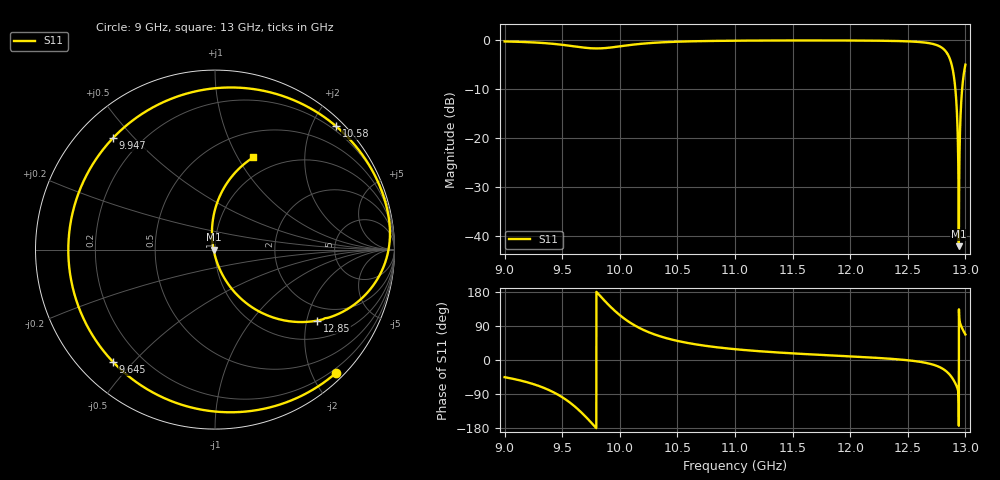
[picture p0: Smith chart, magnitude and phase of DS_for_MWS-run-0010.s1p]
! TOUCHSTONE file generated by CST DESIGN STUDIO
! Date and time: Tue Feb  4 18:01:03 2025
! Project name: C:\Work\MatlabApps\UnitCellOptimizationMatlab\CST\unitcell.cst
! Tree item: Tasks\Sweep1\SPara1\S-Parameters
! Header version: 2024
! Port assignment regex: !\s*Touchstone port\s*([0-9]+)\s*=\s*(CST MWS port|CST DES external port|CST DES block port)\s*(.+)\s* \(\"(.*)\"\)(\s*mode\s*([0-9]+))?.*
! Touchstone port assignment:
! Touchstone port 1 = CST DES external port 1 ("")
# GHz S MA R 50
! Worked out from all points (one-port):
!   4001 points, 9 GHz to 13 GHz, reference 50 ohm
!   lowest |S11| = -42.1 dB at 12.94 GHz (marker M1), VSWR 1.02, Z = 49.2 - j0.0864 ohm
!   |S11| at or under -10 dB: 12.91282 GHz to 12.97183 GHz (59.01 MHz wide, 0.456 % of centre)
!   S11 on the Smith chart (normalised r, x): 9 GHz: 0.13, -2.39; 9.645 GHz: 0.10, -0.44; 9.947 GHz: 0.10, +0.44; 10.58 GHz: 0.13, +2.38; 12.85 GHz: 1.52, -2.32; 13 GHz: 0.78, +1.17
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9  0.9629 -45.3
9.274  0.9376 -66.0
9.5  0.89 -98.2
9.645  0.8451 -132.3
9.726  0.8245 -156.7
9.796  0.8174 -179.9
9.866  0.823 157.0
9.947  0.8422 132.4
10  0.8584 118.4
10.105  0.8904 95.6
10.24  0.9226 74.7
10.5  0.9571 50.4
10.579  0.9631 45.5
11  0.9795 28.5
11.5  0.9849 17.5
12  0.9837 9.5
12.5  0.9647 -0.7
12.738  0.8945 -14.1
12.802  0.8213 -22.9
12.852  0.6942 -34.7
12.902  0.41 -55.4
12.916  0.2863 -63.6
12.929  0.1544 -72.8
12.943  0.007892 -173.6
12.957  0.1587 94.6
12.968  0.2772 86.3
12.977  0.367 80.4
13  0.5576 67.4
